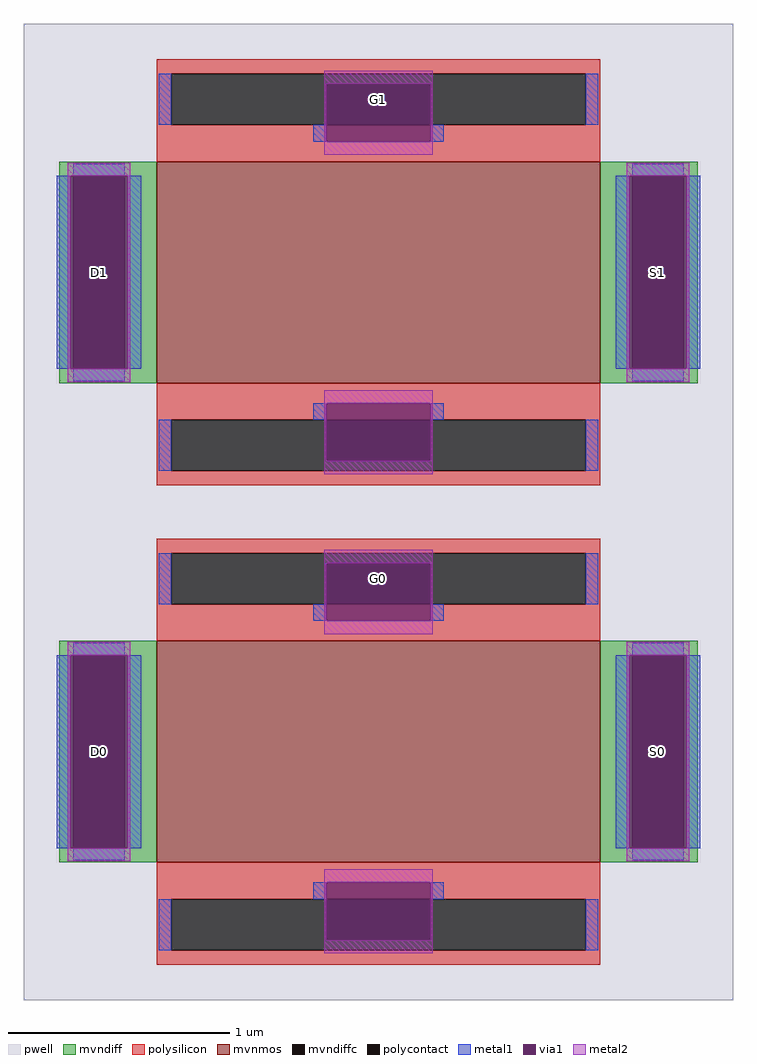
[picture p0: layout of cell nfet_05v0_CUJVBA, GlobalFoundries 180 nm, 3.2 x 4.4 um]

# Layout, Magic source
magic
tech gf180mcuD
magscale 1 10
<< pwell >>
rect -320 -440 320 440
<< mvnmos >>
rect -200 116 200 316
rect -200 -316 200 -116
<< mvndiff >>
rect -288 303 -200 316
rect -288 129 -275 303
rect -229 129 -200 303
rect -288 116 -200 129
rect 200 303 288 316
rect 200 129 229 303
rect 275 129 288 303
rect 200 116 288 129
rect -288 -129 -200 -116
rect -288 -303 -275 -129
rect -229 -303 -200 -129
rect -288 -316 -200 -303
rect 200 -129 288 -116
rect 200 -303 229 -129
rect 275 -303 288 -129
rect 200 -316 288 -303
<< mvndiffc >>
rect -275 129 -229 303
rect 229 129 275 303
rect -275 -303 -229 -129
rect 229 -303 275 -129
<< polysilicon >>
rect -200 395 200 408
rect -200 349 -187 395
rect 187 349 200 395
rect -200 316 200 349
rect -200 83 200 116
rect -200 37 -187 83
rect 187 37 200 83
rect -200 24 200 37
rect -200 -37 200 -24
rect -200 -83 -187 -37
rect 187 -83 200 -37
rect -200 -116 200 -83
rect -200 -349 200 -316
rect -200 -395 -187 -349
rect 187 -395 200 -349
rect -200 -408 200 -395
<< polycontact >>
rect -187 349 187 395
rect -187 37 187 83
rect -187 -83 187 -37
rect -187 -395 187 -349
<< metal1 >>
rect -198 349 -187 395
rect 187 349 198 395
rect -59 334 -47 349
rect 47 334 59 349
rect -275 303 -229 314
rect 229 303 275 314
rect -290 129 -278 303
rect -226 129 -214 303
rect 214 129 226 303
rect 278 129 290 303
rect -275 118 -229 129
rect 229 118 275 129
rect -59 83 -47 98
rect 47 83 59 98
rect -198 37 -187 83
rect 187 37 198 83
rect -198 -83 -187 -37
rect 187 -83 198 -37
rect -59 -98 -47 -83
rect 47 -98 59 -83
rect -275 -129 -229 -118
rect 229 -129 275 -118
rect -290 -303 -278 -129
rect -226 -303 -214 -129
rect 214 -303 226 -129
rect 278 -303 290 -129
rect -275 -314 -229 -303
rect 229 -314 275 -303
rect -59 -349 -47 -334
rect 47 -349 59 -334
rect -198 -395 -187 -349
rect 187 -395 198 -349
<< via1 >>
rect -47 349 47 386
rect -47 334 47 349
rect -278 129 -275 303
rect -275 129 -229 303
rect -229 129 -226 303
rect 226 129 229 303
rect 229 129 275 303
rect 275 129 278 303
rect -47 83 47 98
rect -47 46 47 83
rect -47 -83 47 -46
rect -47 -98 47 -83
rect -278 -303 -275 -129
rect -275 -303 -229 -129
rect -229 -303 -226 -129
rect 226 -303 229 -129
rect 229 -303 275 -129
rect 275 -303 278 -129
rect -47 -349 47 -334
rect -47 -386 47 -349
<< metal2 >>
rect -49 386 49 398
rect -49 334 -47 386
rect 47 334 49 386
rect -49 322 49 334
rect -280 303 -224 315
rect -280 129 -278 303
rect -226 129 -224 303
rect -280 117 -224 129
rect 224 303 280 315
rect 224 129 226 303
rect 278 129 280 303
rect 224 117 280 129
rect -49 98 49 110
rect -49 46 -47 98
rect 47 46 49 98
rect -49 34 49 46
rect -49 -46 49 -34
rect -49 -98 -47 -46
rect 47 -98 49 -46
rect -49 -110 49 -98
rect -280 -129 -224 -117
rect -280 -303 -278 -129
rect -226 -303 -224 -129
rect -280 -315 -224 -303
rect 224 -129 280 -117
rect 224 -303 226 -129
rect 278 -303 280 -129
rect 224 -315 280 -303
rect -49 -334 49 -322
rect -49 -386 -47 -334
rect 47 -386 49 -334
rect -49 -398 49 -386
<< labels >>
rlabel mvndiffc -252 -216 -252 -216 0 D0
port 1 nsew
rlabel mvndiffc 252 -216 252 -216 0 S0
port 2 nsew
rlabel polycontact 0 -60 0 -60 0 G0
port 3 nsew
rlabel mvndiffc -252 216 -252 216 0 D1
port 4 nsew
rlabel mvndiffc 252 216 252 216 0 S1
port 5 nsew
rlabel polycontact 0 372 0 372 0 G1
port 6 nsew
<< properties >>
string gencell nfet_05v0
string library gf180mcu
string parameters w 1.0 l 2.0 m 2 nf 1 diffcov 100 polycov 100 guard 0 glc 1 grc 1 gtc 0 gbc 0 tbcov 100 rlcov 100 topc 1 botc 1 poverlap 0 doverlap 0 lmin 0.6 wmin 0.3 class mosfet full_metal 0 viasrc 100 viadrn 100 viagate 25 viagb 0 viagr 0 viagl 0 viagt 0 doports 1 compatible {nfet_03v3 nfet_05v0 nfet_06v0 nfet_06v0_nvt}
<< end >>
